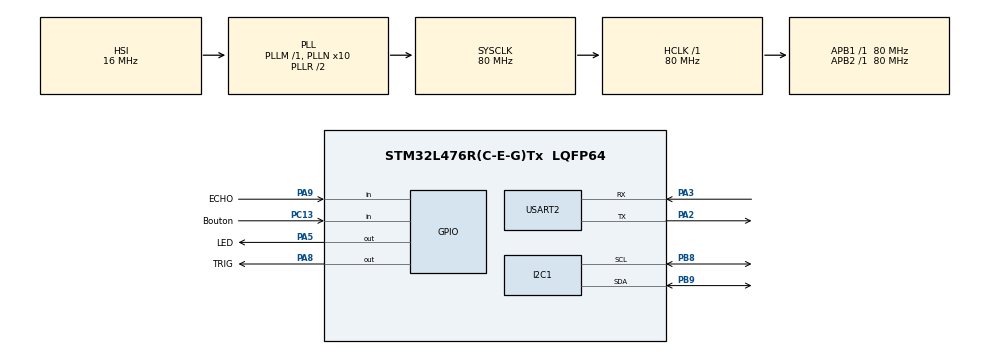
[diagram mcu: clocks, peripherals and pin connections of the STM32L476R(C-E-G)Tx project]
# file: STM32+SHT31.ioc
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I2C1.Timing=0x10909CEC
Mcu.Family=STM32L4
Mcu.Name=STM32L476R(C-E-G)Tx
Mcu.Package=LQFP64
NVIC.PriorityGroup=NVIC_PRIORITYGROUP_4
PA2.Mode=Asynchronous
PA2.Signal=USART2_TX
PA3.Mode=Asynchronous
PA3.Signal=USART2_RX
PA5.GPIO_Label=LED
PA5.Signal=GPIO_Output
PA8.GPIO_Label=TRIG
PA8.Signal=GPIO_Output
PA9.GPIO_Label=ECHO
PA9.Signal=GPIO_Input
PB8.Mode=I2C
PB8.Signal=I2C1_SCL
PB9.Mode=I2C
PB9.Signal=I2C1_SDA
PC13.GPIO_Label=Bouton
PC13.Signal=GPIO_Input
ProjectManager.HeapSize=0x200
ProjectManager.StackSize=0x400
ProjectManager.TargetToolchain=TrueSTUDIO
RCC.ADCFreq_Value=64000000
RCC.AHBFreq_Value=80000000
RCC.APB1Freq_Value=80000000
RCC.APB1TimFreq_Value=80000000
RCC.APB2Freq_Value=80000000
RCC.APB2TimFreq_Value=80000000
RCC.CortexFreq_Value=80000000
RCC.HCLKFreq_Value=80000000
RCC.HSE_VALUE=8000000
RCC.HSI_VALUE=16000000
RCC.LSE_VALUE=32768
RCC.MSI_VALUE=4000000
RCC.PLLN=10
RCC.PLLSourceVirtual=RCC_PLLSOURCE_HSI
RCC.PREFETCH_ENABLE=1
RCC.SYSCLKFreq_VALUE=80000000
RCC.SYSCLKSource=RCC_SYSCLKSOURCE_PLLCLK
RCC.USBFreq_Value=64000000
RCC.VCOOutputFreq_Value=160000000
TIM4.Period=0
TIM4.Prescaler=80-1
USART2.VirtualMode-Asynchronous=VM_ASYNC
VP_TIM4_VS_ClockSourceINT.Mode=Internal
board=NUCLEO-L476RG

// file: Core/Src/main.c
/* USER CODE BEGIN Header */
/**
  ******************************************************************************
  * @file           : main.c
  * @brief          : Main program body
  ******************************************************************************
  * @attention
  *
  * <h2><center>&copy; Copyright (c) 2021 STMicroelectronics.
  * All rights reserved.</center></h2>
  *
  * This software component is licensed by ST under BSD 3-Clause license,
  * the "License"; You may not use this file except in compliance with the
  * License. You may obtain a copy of the License at:
  *                        opensource.org/licenses/BSD-3-Clause
  *
  ******************************************************************************
  */
/* USER CODE END Header */
#include "main.h"
#include "i2c.h"
#include "tim.h"
#include "usart.h"
#include "gpio.h"
/* USER CODE BEGIN Includes */
#include <string.h>
#include <stdio.h>
#include <stdlib.h>

/* USER CODE END Includes */

/* USER CODE BEGIN PTD */
#define _OPEN_SYS_ITOA_EXT

/* USER CODE END PTD */

/* USER CODE BEGIN PV */
TIM_HandleTypeDef htim4;
UART_HandleTypeDef huart2;

static const uint8_t CAPTEUR_ADRS = 0x44 << 1;  // adresse du capteur de température
static const uint8_t CAPTEUR_CMD_MSB = 0x24;  // MSB de la commande a envoyer vers le capteur de température
static const uint8_t CAPTEUR_CMD_LSB = 0x16;  // LSB de la commande a envoyer vers le capteur de température
/* USER CODE END PV */

void SystemClock_Config(void);
/* USER CODE BEGIN PFP */
void usDelay(uint32_t uSec); // déclaration de la fonction qui permet d'avoir un délai en microsecondes
/* USER CODE END PFP */

/* USER CODE BEGIN 0 */
const float speedOfSound = 0.0343/2;  // vitesse du son
float distance;  // variable ou stocker la distance

char uartBuf[100];  // buffer qui permet de transmettre au pc la distance calculé
/* USER CODE END 0 */

int main(void)
{
  /* USER CODE BEGIN 1 */

		HAL_StatusTypeDef ret;
			uint8_t buf[12];  // chaine de caractère pour transsmetre et recevoir depuis le capteur
			volatile uint16_t valeur; // valeur récupéré du capteur de température
			volatile float temp; // valeur de la température après la conversion
			float partieDecimal; // partie decimal de température
			float partieEntiere; // partie entière de température
  /* USER CODE END 1 */

  /* MCU Configuration--------------------------------------------------------*/

  /* Reset of all peripherals, Initializes the Flash interface and the Systick. */
  HAL_Init();

  /* Configure the system clock */
  SystemClock_Config();

  /* Initialize all configured peripherals */
  MX_GPIO_Init();
  MX_TIM4_Init();
  MX_USART2_UART_Init();
  MX_I2C1_Init();

  /* Infinite loop */
  while (1)
  {

    /* USER CODE BEGIN 3 */

		// calcule de la température à partire des trames récupéré depuis le capteur
		buf[0] = CAPTEUR_CMD_MSB; // trame MSB récupéré depuis le capteur
		buf[1] = CAPTEUR_CMD_LSB; // trame LSB récupéré depuis le capteur
		ret = HAL_I2C_Master_Transmit( &hi2c1, CAPTEUR_ADRS, buf, 2, HAL_MAX_DELAY); // vérification de la transmission

		if ( ret != HAL_OK)
		{
			strcpy((char*)buf, "erreur_T!!\r\n");
		}
			else
		{

		ret = HAL_I2C_Master_Receive( &hi2c1, CAPTEUR_ADRS, buf, 6, HAL_MAX_DELAY); // vérification de la récéption

		if ( ret != HAL_OK)
		{
			strcpy((char*)buf, "erreur_R!!\r\n");
		}

		else
		{

			valeur  =   buf[1] | buf[0] << 8; // conversion de binaire en décimal

			temp = -45 + 175 * ( (float)valeur / 65535); // conversion de la valeur recu en température

			partieEntiere = (int) temp;
			partieDecimal = temp;
			partieDecimal *= 100;
			partieDecimal = partieDecimal - (partieEntiere * 100);

		}

		}

		// transmision vers le pc
		HAL_UART_Transmit(&huart2, buf, strlen((char*)buf), HAL_MAX_DELAY);
		HAL_Delay(1000);

  }
  /* USER CODE END 3 */
}

void SystemClock_Config(void)
{
  RCC_OscInitTypeDef RCC_OscInitStruct = {0};
  RCC_ClkInitTypeDef RCC_ClkInitStruct = {0};
  RCC_PeriphCLKInitTypeDef PeriphClkInit = {0};

  /** Initializes the RCC Oscillators according to the specified parameters
  * in the RCC_OscInitTypeDef structure.
  */
  RCC_OscInitStruct.OscillatorType = RCC_OSCILLATORTYPE_HSI;
  RCC_OscInitStruct.HSIState = RCC_HSI_ON;
  RCC_OscInitStruct.HSICalibrationValue = RCC_HSICALIBRATION_DEFAULT;
  RCC_OscInitStruct.PLL.PLLState = RCC_PLL_ON;
  RCC_OscInitStruct.PLL.PLLSource = RCC_PLLSOURCE_HSI;
  RCC_OscInitStruct.PLL.PLLM = 1;
  RCC_OscInitStruct.PLL.PLLN = 10;
  RCC_OscInitStruct.PLL.PLLP = RCC_PLLP_DIV7;
  RCC_OscInitStruct.PLL.PLLQ = RCC_PLLQ_DIV2;
  RCC_OscInitStruct.PLL.PLLR = RCC_PLLR_DIV2;
  if (HAL_RCC_OscConfig(&RCC_OscInitStruct) != HAL_OK)
  {
    Error_Handler();
  }
  /** Initializes the CPU, AHB and APB buses clocks
  */
  RCC_ClkInitStruct.ClockType = RCC_CLOCKTYPE_HCLK|RCC_CLOCKTYPE_SYSCLK
                              |RCC_CLOCKTYPE_PCLK1|RCC_CLOCKTYPE_PCLK2;
  RCC_ClkInitStruct.SYSCLKSource = RCC_SYSCLKSOURCE_PLLCLK;
  RCC_ClkInitStruct.AHBCLKDivider = RCC_SYSCLK_DIV1;
  RCC_ClkInitStruct.APB1CLKDivider = RCC_HCLK_DIV1;
  RCC_ClkInitStruct.APB2CLKDivider = RCC_HCLK_DIV1;

  if (HAL_RCC_ClockConfig(&RCC_ClkInitStruct, FLASH_LATENCY_4) != HAL_OK)
  {
    Error_Handler();
  }
  PeriphClkInit.PeriphClockSelection = RCC_PERIPHCLK_USART2|RCC_PERIPHCLK_I2C1;
  PeriphClkInit.Usart2ClockSelection = RCC_USART2CLKSOURCE_PCLK1;
  PeriphClkInit.I2c1ClockSelection = RCC_I2C1CLKSOURCE_PCLK1;
  if (HAL_RCCEx_PeriphCLKConfig(&PeriphClkInit) != HAL_OK)
  {
    Error_Handler();
  }
  /** Configure the main internal regulator output voltage
  */
  if (HAL_PWREx_ControlVoltageScaling(PWR_REGULATOR_VOLTAGE_SCALE1) != HAL_OK)
  {
    Error_Handler();
  }
}

void Error_Handler(void)
{
  __disable_irq();
  while (1)
  {
  }
}

/************************ (C) COPYRIGHT STMicroelectronics *****END OF FILE****/
